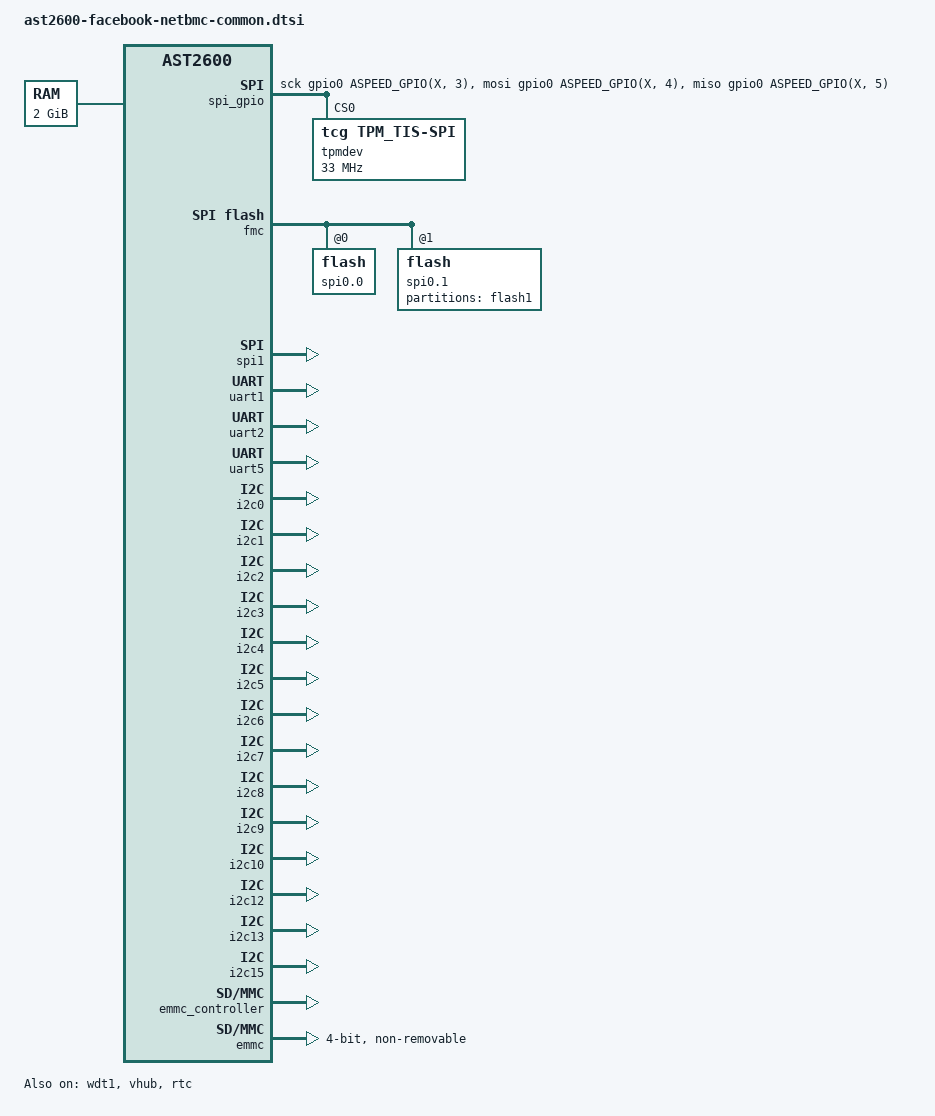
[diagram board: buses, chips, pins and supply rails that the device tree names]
// SPDX-License-Identifier: GPL-2.0+
// Copyright (c) 2020 Facebook Inc.

#include "aspeed-g6.dtsi"
#include <dt-bindings/gpio/aspeed-gpio.h>

/ {
	aliases {
		mmc0 = &emmc;
		spi1 = &spi1;
		spi2 = &spi_gpio;
	};

	chosen {
		bootargs = "console=ttyS0,9600n8 root=/dev/ram rw vmalloc=640M";
	};

	memory@80000000 {
		device_type = "memory";
		reg = <0x80000000 0x80000000>;
	};

	/*
	 * GPIO-based SPI Master is required to access SPI TPM, because
	 * full-duplex SPI transactions are not supported by ASPEED SPI
	 * Controllers.
	 */
	spi_gpio: spi {
		status = "okay";
		compatible = "spi-gpio";
		#address-cells = <1>;
		#size-cells = <0>;

		gpio-sck = <&gpio0 ASPEED_GPIO(X, 3) GPIO_ACTIVE_HIGH>;
		gpio-mosi = <&gpio0 ASPEED_GPIO(X, 4) GPIO_ACTIVE_HIGH>;
		gpio-miso = <&gpio0 ASPEED_GPIO(X, 5) GPIO_ACTIVE_HIGH>;

		tpmdev@0 {
			compatible = "tcg,tpm_tis-spi";
			spi-max-frequency = <33000000>;
			reg = <0>;
		};
	};
};

&fmc {
	status = "okay";

	flash@0 {
		status = "okay";
		m25p,fast-read;
		label = "spi0.0";

#include "facebook-bmc-flash-layout-128.dtsi"
	};

	flash@1 {
		status = "okay";
		m25p,fast-read;
		label = "spi0.1";

		partitions {
			compatible = "fixed-partitions";
			#address-cells = <1>;
			#size-cells = <1>;

			flash1@0 {
				reg = <0x0 0x8000000>;
				label = "flash1";
			};
		};
	};
};

&spi1 {
	status = "okay";
};

&uart1 {
	status = "okay";
};

&uart2 {
	status = "okay";
};

&uart5 {
	status = "okay";
};

&wdt1 {
	status = "okay";
};

&i2c0 {
	status = "okay";
};

&i2c1 {
	status = "okay";
};

&i2c2 {
	status = "okay";
};

&i2c3 {
	status = "okay";
};

&i2c4 {
	status = "okay";
};

&i2c5 {
	status = "okay";
};

&i2c6 {
	status = "okay";
};

&i2c7 {
	status = "okay";
};

&i2c8 {
	status = "okay";
};

&i2c9 {
	status = "okay";
};

&i2c10 {
	status = "okay";
};

&i2c12 {
	status = "okay";
};

&i2c13 {
	status = "okay";
};

&i2c15 {
	status = "okay";
};

&vhub {
	status = "okay";
};

&emmc_controller {
	status = "okay";
};

&emmc {
	status = "okay";

	non-removable;
	max-frequency = <25000000>;
	bus-width = <4>;
};

&rtc {
	status = "okay";
};
